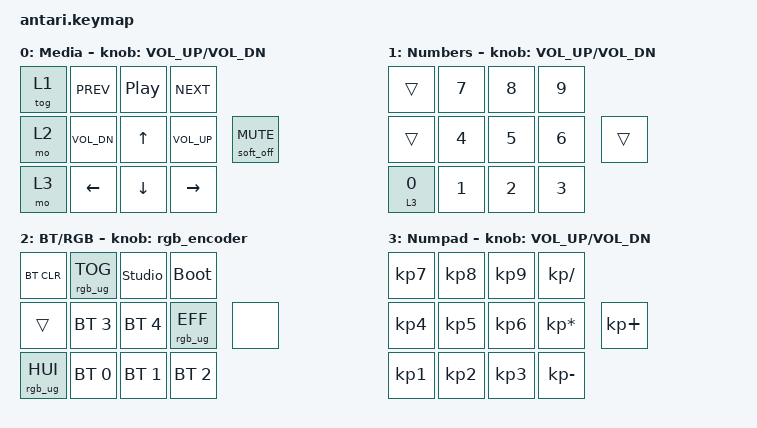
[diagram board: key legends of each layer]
/*
 * Antari2040 keymap
 * 3 rows of 4 keys per layer, then the encoder push button as the
 * 13th (last) binding.
 *
 * Encoder press: tap = mute, hold 5 seconds = power off (soft off).
 * Press any key to wake. Power off is only functional on the
 * nRF52840 board; on the RP2040 the hold does nothing.
 *
 * Studio unlock: hold 2nd-row-left key, tap top row 3rd key.
 *
 * SPDX-License-Identifier: MIT
 */

#include <behaviors.dtsi>
#include <dt-bindings/zmk/keys.h>
#include <dt-bindings/zmk/bt.h>
#include <dt-bindings/zmk/rgb.h>

/ {
    behaviors {
        rgb_encoder: rgb_encoder {
            compatible = "zmk,behavior-sensor-rotate";
            #sensor-binding-cells = <0>;
            bindings = <&rgb_ug RGB_BRI>, <&rgb_ug RGB_BRD>;
        };

        mute_off: mute_or_soft_off {
            compatible = "zmk,behavior-hold-tap";
            #binding-cells = <2>;
            flavor = "hold-preferred";
            tapping-term-ms = <5000>;
            bindings = <&soft_off>, <&kp>;
        };
    };

    keymap {
        compatible = "zmk,keymap";

        default_layer {
            display-name = "Media";
            bindings = <
                &tog 1     &kp C_PREV   &kp C_PP     &kp C_NEXT
                &mo 2      &kp C_VOL_DN &kp UP       &kp C_VOL_UP
                &mo 3      &kp LEFT     &kp DOWN     &kp RIGHT    &mute_off 0 C_MUTE
            >;
            sensor-bindings = <&inc_dec_kp C_VOL_UP C_VOL_DN>;
        };

        num_layer {
            display-name = "Numbers";
            bindings = <
                &trans    &kp N7       &kp N8       &kp N9
                &trans    &kp N4       &kp N5       &kp N6
                &lt 3 N0  &kp N1       &kp N2       &kp N3       &trans
            >;
            sensor-bindings = <&inc_dec_kp C_VOL_UP C_VOL_DN>;
        };

        lower_layer {
            display-name = "BT/RGB";
            bindings = <
                &bt BT_CLR      &rgb_ug RGB_TOG &studio_unlock &bootloader
                &trans          &bt BT_SEL 3    &bt BT_SEL 4   &rgb_ug RGB_EFF
                &rgb_ug RGB_HUI &bt BT_SEL 0    &bt BT_SEL 1   &bt BT_SEL 2    &none
            >;
            sensor-bindings = <&rgb_encoder>;
        };

        raise_layer {
            display-name = "Numpad";
            bindings = <
                &kp KP_N7  &kp KP_N8    &kp KP_N9    &kp KP_DIVIDE
                &kp KP_N4  &kp KP_N5    &kp KP_N6    &kp KP_MULTIPLY
                &kp KP_N1  &kp KP_N2    &kp KP_N3    &kp KP_MINUS &kp KP_PLUS
            >;
            sensor-bindings = <&inc_dec_kp C_VOL_UP C_VOL_DN>;
        };
    };
};
